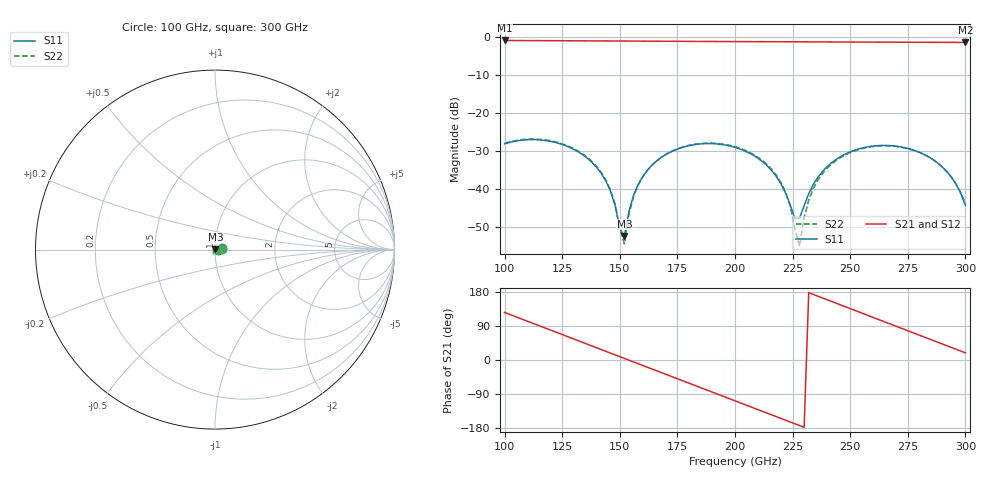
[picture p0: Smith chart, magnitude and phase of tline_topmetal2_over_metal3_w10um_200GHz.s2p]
#  GHZ S DB R 50
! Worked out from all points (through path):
!   101 points, 100 GHz to 300 GHz, reference 50 ohm
!   highest |S21| = -0.80 dB at 100 GHz (marker M1); lowest = -1.3 dB at 300 GHz (marker M2)
!   group delay of S21, straight-line fit = 6.48 ps
!   lowest |S11| = -52.3 dB at 152 GHz (marker M3), VSWR 1.00, Z = 50.2 + j0.0688 ohm
!   |S11| at or under -10 dB: start of sweep to end of sweep
!   |S22| runs from -55.0 to -26.8 dB; largest |S21 - S12| = 1.1e-14
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100  -28.04 9.4  -0.80 125.4  -0.80 125.4  -27.90 7.6
116  -27.03 -24.2  -0.85 88.1  -0.85 88.1  -26.89 -26.2
134  -30.94 -61.7  -0.90 46.2  -0.90 46.2  -30.75 -64.4
146  -40.55 -79.4  -0.94 18.2  -0.94 18.2  -40.22 -84.4
150  -50.39 -57.7  -0.95 8.8  -0.95 8.8  -50.30 -70.2
152  -52.28 16.3  -0.96 4.2  -0.96 4.2  -54.35 12.6
154  -45.75 46.6  -0.97 -0.5  -0.97 -0.5  -46.46 47.7
158  -38.69 51.3  -0.98 -9.8  -0.98 -9.8  -38.87 50.9
168  -31.62 35.2  -1.01 -33.1  -1.01 -33.1  -31.59 33.4
184  -28.12 2.1  -1.06 -70.4  -1.06 -70.4  -28.01 -0.6
200  -28.96 -31.3  -1.10 -107.7  -1.10 -107.7  -28.78 -35.4
218  -36.67 -61.6  -1.14 -149.7  -1.14 -149.7  -36.35 -71.8
224  -44.23 -51.5  -1.15 -163.7  -1.15 -163.7  -44.47 -75.4
226  -47.64 -27.4  -1.16 -168.4  -1.16 -168.4  -50.39 -62.8
228  -47.69 13.6  -1.16 -173.1  -1.16 -173.1  -54.98 12.2
230  -44.32 38.1  -1.17 -177.7  -1.17 -177.7  -47.51 52.2
234  -38.73 48.9  -1.18 172.9  -1.18 172.9  -39.77 57.1
248  -30.68 30.1  -1.22 140.3  -1.22 140.3  -30.90 32.0
268  -28.52 -10.7  -1.26 93.6  -1.26 93.6  -28.59 -10.6
288  -33.08 -50.4  -1.30 46.9  -1.30 46.9  -33.10 -50.0
294  -36.88 -59.0  -1.31 32.9  -1.31 32.9  -36.84 -57.4
300  -44.23 -53.7  -1.32 18.8  -1.32 18.8  -43.73 -48.1
